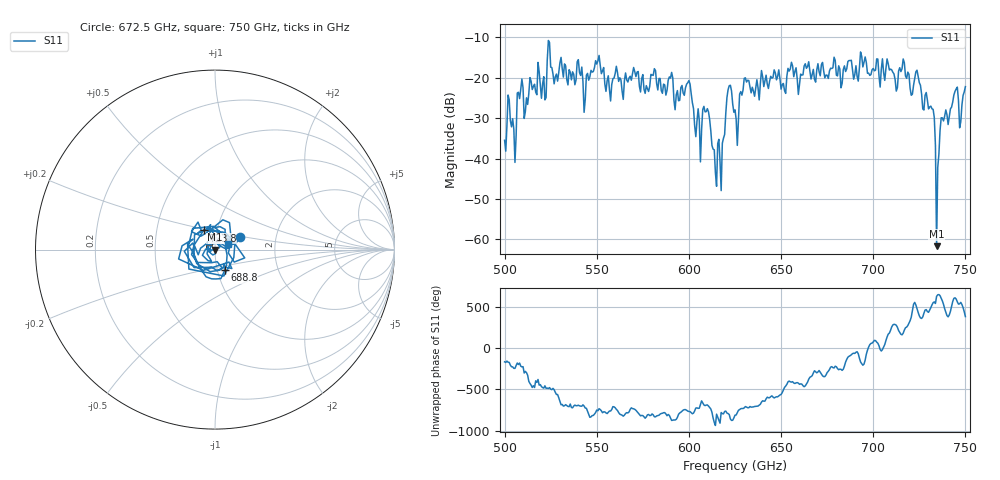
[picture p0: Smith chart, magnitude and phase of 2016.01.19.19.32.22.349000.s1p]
!Created with skrf (http://scikit-rf.org).
# GHz S RI R 50.0
!freq ReS11 ImS11
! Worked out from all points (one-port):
!   401 points, 500 GHz to 750 GHz, reference 50 ohm
!   lowest |S11| = -61.7 dB at 734.4 GHz (marker M1), VSWR 1.00, Z = 50 - j0.0824 ohm
!   |S11| at or under -10 dB: start of sweep to end of sweep
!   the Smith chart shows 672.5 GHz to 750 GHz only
!   S11 on the Smith chart (normalised r, x): 672.5 GHz: 1.31, +0.18; 688.8 GHz: 1.08, -0.25; 723.8 GHz: 0.86, +0.19; 750 GHz: 1.15, +0.08
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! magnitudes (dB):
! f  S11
! 500 GHz  -35.5
! 503.1 GHz  -30.6
! 505 GHz  -32.7
! 508.1 GHz  -25.1
! 511.9 GHz  -24.9
! 521.2 GHz  -19.7
! 524.4 GHz  -11.3
! 531.2 GHz  -17.7
! 562.5 GHz  -20.0
! 590 GHz  -20.1
! 593.8 GHz  -23.2
! 600 GHz  -20.7
! 605 GHz  -27.7
! 609.4 GHz  -28.4
! 616.2 GHz  -35.2
! 621.9 GHz  -21.9
! 625 GHz  -27.9
! 631.2 GHz  -21.0
! 656.2 GHz  -17.1
! 672.5 GHz  -16.2
! 687.5 GHz  -15.7
! 688.8 GHz  -17.9
! 718.8 GHz  -18.6
! 723.8 GHz  -18.1
! 731.9 GHz  -27.7
! 734.4 GHz  -61.7
! 738.1 GHz  -30.7
! 750 GHz  -22.2
